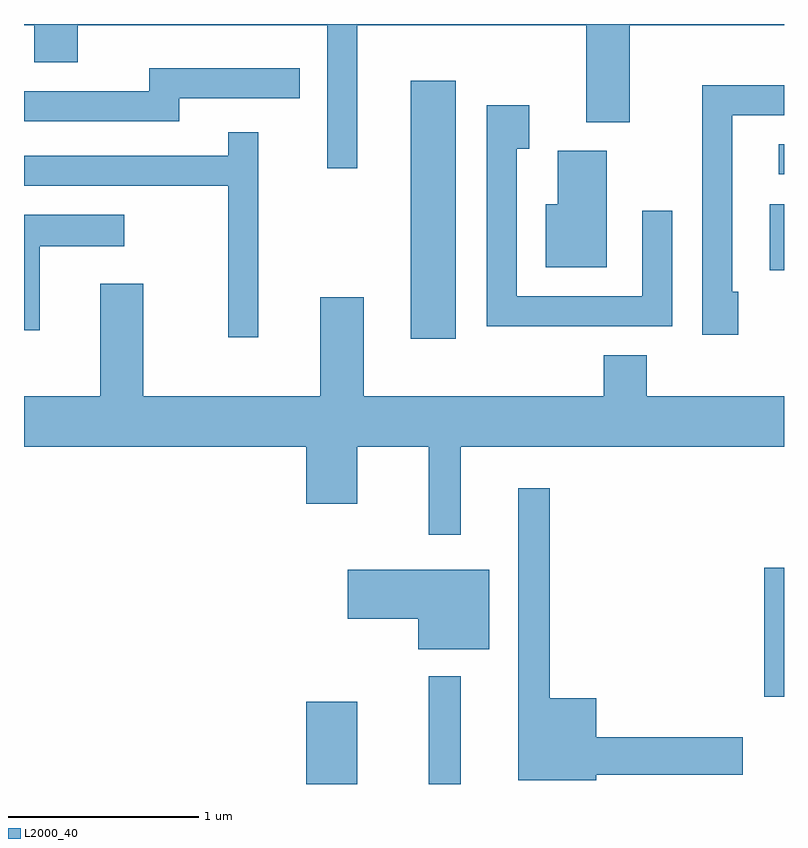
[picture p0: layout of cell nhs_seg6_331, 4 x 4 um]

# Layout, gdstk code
import gdstk
lib = gdstk.Library(unit=1e-6, precision=1e-09)
def R(c, l, rs):  # rectangles x0, y0, x1, y1
    for r in rs: c.add(gdstk.rectangle(r[:2], r[2:], *l))
def P(c, l, *ps):  # polygons
    for p in ps: c.add(gdstk.Polygon(p, *l))
L2000_40 = (2000, 40)

nhs_seg6_331 = lib.new_cell('nhs_seg6_331')
R(nhs_seg6_331, L2000_40, [(195.096,1648.162,195.364,1648.594), (195.741,1648.162,195.909,1648.728), (197.506,1648.621,197.611,1649.299), (195.646,1650.506,195.884,1651.864), (197.536,1650.866,197.611,1651.214), (197.583,1651.371,197.611,1651.529)])
P(nhs_seg6_331, L2000_40, [(195.364,1652.156),(196.571,1652.156),(196.571,1651.646),(196.799,1651.646),(196.799,1652.156),(197.611,1652.156),(197.611,1652.162),(193.611,1652.162),(193.611,1652.156),(193.666,1652.156),(193.666,1651.961),(193.894,1651.961),(193.894,1652.156),(195.206,1652.156),(195.206,1651.403),(195.364,1651.403)],
  [(194.429,1651.771),(195.063,1651.771),(195.063,1651.929),(194.271,1651.929),(194.271,1651.809),(193.611,1651.809),(193.611,1651.651),(194.429,1651.651)],
  [(197.369,1650.754),(197.339,1650.754),(197.339,1651.681),(197.611,1651.681),(197.611,1651.839),(197.181,1651.839),(197.181,1650.526),(197.369,1650.526)],
  [(197.024,1651.178),(196.866,1651.178),(196.866,1650.729),(196.204,1650.729),(196.204,1651.506),(196.269,1651.506),(196.269,1651.734),(196.046,1651.734),(196.046,1650.571),(197.024,1650.571)],
  [(194.844,1651.593),(194.686,1651.593),(194.686,1651.469),(193.611,1651.469),(193.611,1651.311),(194.686,1651.311),(194.686,1650.513),(194.844,1650.513)],
  [(196.679,1651.494),(196.421,1651.494),(196.421,1651.214),(196.356,1651.214),(196.356,1650.881),(196.679,1650.881)],
  [(193.694,1650.991),(194.138,1650.991),(194.138,1651.159),(193.611,1651.159),(193.611,1650.551),(193.694,1650.551)],
  [(195.909,1649.936),(197.611,1649.936),(197.611,1650.204),(196.889,1650.204),(196.889,1650.419),(196.661,1650.419),(196.661,1650.204),(195.399,1650.204),(195.399,1650.724),(195.171,1650.724),(195.171,1650.204),(194.239,1650.204),(194.239,1650.794),(194.011,1650.794),(194.011,1650.204),(193.611,1650.204),(193.611,1649.936),(195.096,1649.936),(195.096,1649.636),(195.364,1649.636),(195.364,1649.936),(195.741,1649.936),(195.741,1649.473),(195.909,1649.473)],
  [(196.624,1648.211),(197.394,1648.211),(197.394,1648.409),(196.624,1648.409),(196.624,1648.614),(196.379,1648.614),(196.379,1649.718),(196.211,1649.718),(196.211,1648.181),(196.624,1648.181)],
  [(196.059,1649.289),(195.316,1649.289),(195.316,1649.031),(195.686,1649.031),(195.686,1648.871),(196.059,1648.871)])

lib.write_gds('nhs_seg6_331.gds')
